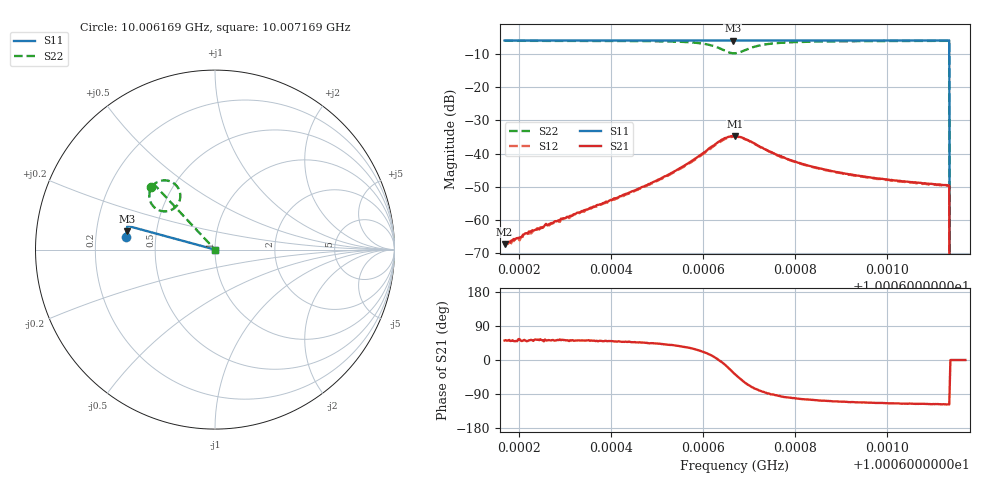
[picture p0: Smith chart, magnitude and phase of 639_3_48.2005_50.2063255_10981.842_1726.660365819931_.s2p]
#  HZ  S  RI  R  50.00
! Rohde & Schwarz Vector Network Analyzer
! Rohde-Schwarz,ZNB20-2Port,1311601062101988,3.16
! Created: UTC 3/20/2024, 12:04:45 PM
! freq[Hz]  re:S11  im:S11  re:S21  im:S21  re:S12  im:S12  re:S22  im:S22
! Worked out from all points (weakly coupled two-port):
!   401 points, 10.006169 GHz to 10.007169 GHz, reference 50 ohm
!   highest |S21| = -34.75 dB at 10.006669 GHz (marker M1); lowest = -67.2 dB at 10.006169 GHz (marker M2)
!   lowest |S11| = -6.0 dB at 10.006664 GHz (marker M3), VSWR 3.02, Z = 16.7 + j4.58 ohm
!   |S11| at or under -10 dB: 10.007134 GHz to end of sweep
!   |S22| runs from - to -6.0 dB; largest |S21 - S12| = 0.0014
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1.00061691e10  -0.4984 0.0712  0.000271 0.00034  0.000226 0.000332  -0.3587 0.3472
1.00062066e10  -0.4981 0.0736  0.000359 0.000429  0.000336 0.000436  -0.3562 0.3499
1.00062191e10  -0.498 0.0745  0.000402 0.000476  0.000334 0.000524  -0.3552 0.3509
1.00062416e10  -0.4978 0.076  0.00044 0.000601  0.00041 0.000605  -0.3533 0.3526
1.00062616e10  -0.4976 0.0773  0.000516 0.000649  0.000504 0.000674  -0.3519 0.3541
1.00063366e10  -0.4969 0.0822  0.000846 0.00107  0.000771 0.00108  -0.3444 0.3606
1.00064392e10  -0.4959 0.0889  0.00169 0.00193  0.0016 0.00193  -0.33 0.3715
1.00065042e10  -0.4952 0.0932  0.00298 0.00278  0.00278 0.00284  -0.313 0.38
1.00065642e10  -0.4943 0.0972  0.00577 0.00379  0.0054 0.00401  -0.2821 0.3859
1.00066092e10  -0.4934 0.1002  0.0107 0.00338  0.0103 0.00382  -0.2342 0.3729
1.00066417e10  -0.4924 0.1019  0.0161 -0.0019  0.0157 -0.000797  -0.1944 0.3138
1.00066642e10  -0.4919 0.1025  0.0155 -0.0097  0.0158 -0.00829  -0.2132 0.2438
1.00066692e10  -0.4919 0.1027  0.0145 -0.0111  0.0149 -0.0099  -0.226 0.2315
1.00066917e10  -0.4922 0.1037  0.00806 -0.0144  0.00892 -0.0136  -0.293 0.2138
1.00067267e10  -0.4927 0.106  0.00157 -0.0122  0.00221 -0.012  -0.3507 0.2502
1.00067817e10  -0.4924 0.1095  -0.00123 -0.00822  -0.000777 -0.00818  -0.366 0.2973
1.00068367e10  -0.4918 0.1134  -0.00169 -0.00611  -0.00132 -0.00613  -0.3633 0.3213
1.00069167e10  -0.4908 0.1186  -0.00174 -0.00454  -0.0015 -0.00453  -0.3563 0.3399
1.00070042e10  -0.4896 0.1241  -0.00165 -0.00366  -0.00144 -0.00371  -0.3493 0.3523
1.00071293e10  -0.4879 0.1322  -0.00153 -0.00297  -0.00135 -0.00298  -0.3407 0.364
1.00071418e10  0 0  0 0  0 0  0 0
1.00071693e10  0 0  0 0  0 0  0 0
